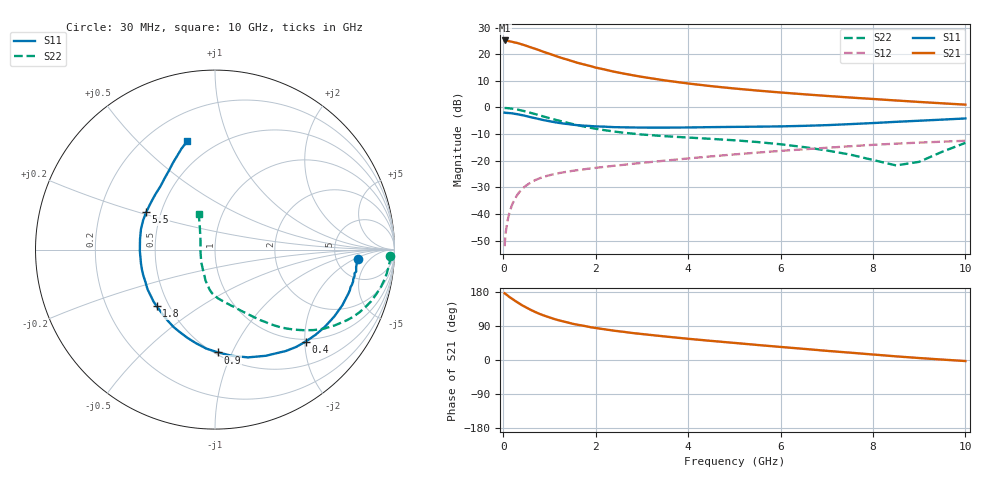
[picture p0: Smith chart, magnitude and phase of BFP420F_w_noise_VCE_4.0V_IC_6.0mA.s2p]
! Infineon Technologies  Discrete & RF Semiconductors
! BFP420F
! VCE =  4.0 V,  IC =  6.0 mA
! Common Emitter S-Parameters:  Sep 2011
# GHz  S  MA  R  50
!  f  S11  S21  S12  S22
! GHz  MAG  ANG  MAG  ANG  MAG  ANG  MAG  ANG
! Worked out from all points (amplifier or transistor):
!   54 points, 30 MHz to 10 GHz, reference 50 ohm
!   highest |S21| = 25.2 dB at 40 MHz (marker M1)
!   |S21| within 3 dB of that: start of sweep to 669.4 MHz
!   unconditionally stable (mu >= 1): 2.449 GHz to end of sweep
!   at 120 MHz: K = 0.19, MSG = 32.7 dB, |S12| = -40.4 dB
!   at 1.3 GHz: K = 0.59, MSG = 21.4 dB, |S12| = -24.3 dB
!   at 10 GHz: K = 1.35, MAG = 3.3 dB, |S12| = -12.5 dB
!   lowest NFmin = 1.00 dB at 450 MHz
!   S11 on the Smith chart (normalised r, x): 30 MHz: 8.27, -2.36; 400 MHz: 0.95, -2.02; 900 MHz: 0.52, -0.89; 1.8 GHz: 0.43, -0.34; 5.5 GHz: 0.41, +0.21; 10 GHz: 0.36, +0.71
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0.03  0.7991 -3.7  18.09 176.1  0.0025 65.5  0.9773 -2.0
0.04  0.7979 -4.8  18.09 175.1  0.0033 71.8  0.9765 -2.5
0.12  0.7874 -14.5  17.68 167.5  0.0095 77.5  0.9669 -7.7
0.25  0.762 -29.3  16.57 156.6  0.019 73.5  0.9318 -15.5
0.3  0.7483 -35.0  16.25 152.7  0.0227 72.1  0.9165 -18.3
0.4  0.7198 -45.4  15.29 145.1  0.0289 68.0  0.8771 -23.5
0.5  0.689 -55.1  14.36 138.4  0.0345 64.3  0.8346 -28.1
0.6  0.6559 -64.4  13.4 132.0  0.0394 61.0  0.7898 -32.3
0.7  0.6279 -73.0  12.56 126.3  0.0437 58.3  0.7488 -36.1
0.9  0.5731 -88.3  10.86 116.5  0.0506 53.9  0.6672 -42.3
1.2  0.5147 -107.5  8.844 104.8  0.0585 49.6  0.5674 -49.8
1.5  0.476 -123.4  7.372 95.6  0.0647 47.3  0.4897 -55.3
1.7  0.4577 -132.0  6.569 91.1  0.0683 46.4  0.4476 -58.8
1.8  0.4538 -135.8  6.251 88.9  0.0702 46.2  0.4302 -60.4
2.4  0.4274 -155.2  4.69 77.3  0.0806 44.9  0.3543 -69.1
3  0.4196 -169.5  3.756 68.5  0.0912 44.7  0.3112 -76.5
3.5  0.4188 -179.0  3.218 62.1  0.1006 44.3  0.2893 -81.6
4.5  0.4279 164.5  2.514 50.4  0.121 42.6  0.2578 -90.3
5.5  0.4366 151.4  2.076 39.7  0.1424 39.7  0.2249 -97.7
7  0.4661 130.6  1.648 24.2  0.1752 33.9  0.1562 -112.2
8.5  0.5381 115.7  1.353 9.6  0.2097 26.0  0.0818 -170.7
10  0.6225 104.5  1.13 -2.7  0.2373 17.8  0.2167 114.7
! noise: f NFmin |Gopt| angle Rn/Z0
0.45  1  0.17  17  0.17
0.9  1.02  0.18  42  0.16
1.9  1.19  0.16  110  0.13
2.4  1.27  0.18  119  0.15
3.5  1.56  0.23  155  0.19
